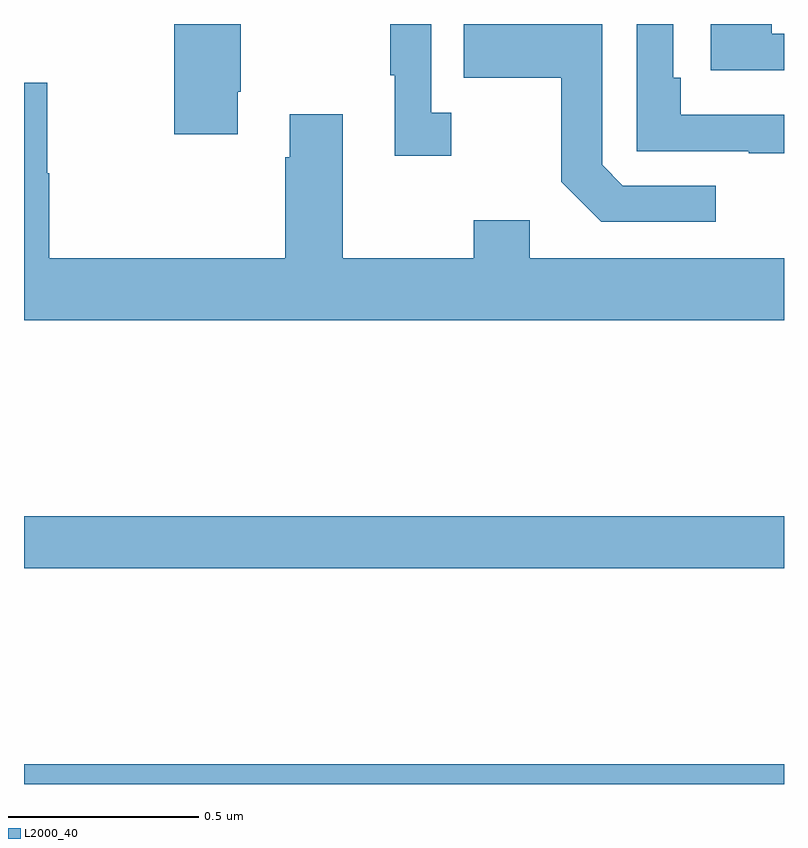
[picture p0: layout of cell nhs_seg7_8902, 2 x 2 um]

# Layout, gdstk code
import gdstk
lib = gdstk.Library(unit=1e-6, precision=1e-09)
def R(c, l, rs):  # rectangles x0, y0, x1, y1
    for r in rs: c.add(gdstk.rectangle(r[:2], r[2:], *l))
def P(c, l, *ps):  # polygons
    for p in ps: c.add(gdstk.Polygon(p, *l))
L2000_40 = (2000, 40)

nhs_seg7_8902 = lib.new_cell('nhs_seg7_8902')
R(nhs_seg7_8902, L2000_40, [(230,1062,232,1062.052), (230,1062.568,232,1062.704)])
P(nhs_seg7_8902, L2000_40, [(232,1063.761),(231.728,1063.761),(231.728,1063.858),(231.708,1063.858),(231.708,1064),(231.612,1064),(231.612,1063.665),(231.907,1063.665),(231.907,1063.66),(232,1063.66)],
  [(231.82,1063.575),(231.576,1063.575),(231.522,1063.629),(231.522,1064),(231.157,1064),(231.157,1063.858),(231.414,1063.858),(231.414,1063.585),(231.519,1063.479),(231.82,1063.479)],
  [(231.124,1063.766),(231.072,1063.766),(231.072,1064),(230.964,1064),(230.964,1063.865),(230.975,1063.865),(230.975,1063.653),(231.124,1063.653)],
  [(232,1063.974),(231.968,1063.974),(231.968,1064),(231.807,1064),(231.807,1063.878),(232,1063.878)],
  [(230.563,1063.822),(230.571,1063.822),(230.571,1064),(230.396,1064),(230.396,1063.71),(230.563,1063.71)],
  [(232,1063.384),(231.331,1063.384),(231.331,1063.483),(231.184,1063.483),(231.184,1063.384),(230.839,1063.384),(230.839,1063.762),(230.699,1063.762),(230.699,1063.649),(230.687,1063.649),(230.687,1063.384),(230.066,1063.384),(230.066,1063.607),(230.061,1063.607),(230.061,1063.846),(230,1063.846),(230,1063.22),(232,1063.22)])

lib.write_gds('nhs_seg7_8902.gds')
